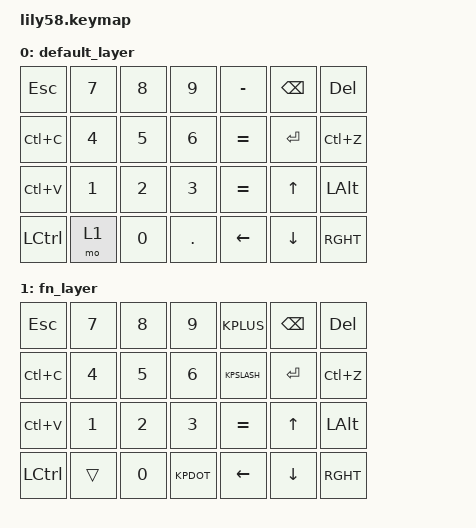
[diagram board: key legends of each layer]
#include <behaviors.dtsi>
#include <dt-bindings/zmk/keys.h>

/ {
    keymap {
        compatible = "zmk,keymap";

        default_layer {
            bindings = <
                &kp ESC    &kp N7   &kp N8   &kp N9   &kp MINUS    &kp BSPC    &kp DEL
                &kp LC(C)  &kp N4   &kp N5   &kp N6   &kp EQUAL     &kp RET     &kp LC(Z)
                &kp LC(V)  &kp N1   &kp N2   &kp N3   &kp EQUAL     &kp UP      &kp LALT
                &kp LCTRL  &mo 1    &kp N0   &kp DOT   &kp LEFT      &kp DOWN    &kp RGHT
            >;
        };

        fn_layer {
            bindings = <
                &kp ESC    &kp N7   &kp N8   &kp N9   &kp KPLUS     &kp BSPC    &kp DEL
                &kp LC(C)  &kp N4   &kp N5   &kp N6   &kp KPSLASH   &kp RET     &kp LC(Z)
                &kp LC(V)  &kp N1   &kp N2   &kp N3   &kp EQUAL     &kp UP      &kp LALT
                &kp LCTRL  &trans   &kp N0   &kp KPDOT &kp LEFT     &kp DOWN    &kp RGHT
            >;
        };
    };
};
